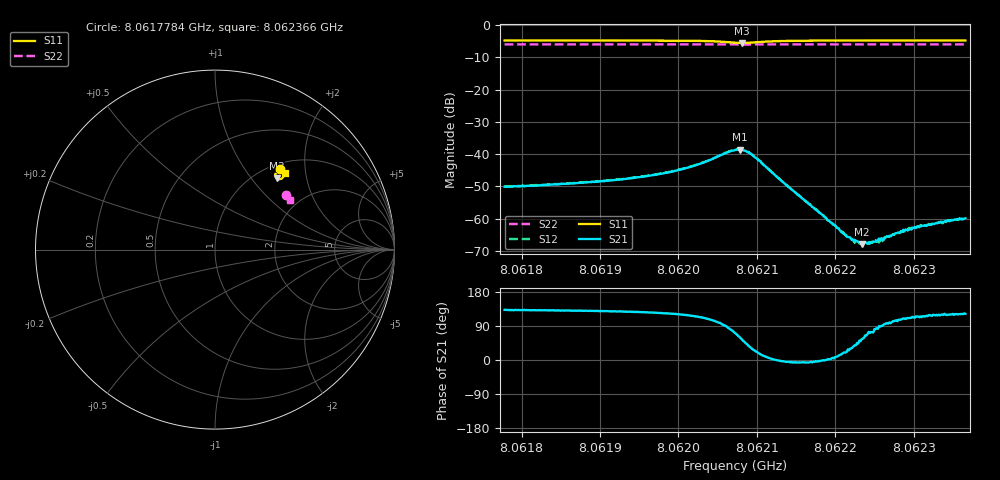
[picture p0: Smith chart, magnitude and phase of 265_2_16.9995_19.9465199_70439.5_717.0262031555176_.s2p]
#  HZ  S  RI  R  50.00
! Rohde & Schwarz Vector Network Analyzer
! Rohde-Schwarz,ZNB20-2Port,1311601062101988,3.16
! Created: UTC 3/20/2024, 11:03:57 PM
! freq[Hz]  re:S11  im:S11  re:S21  im:S21  re:S12  im:S12  re:S22  im:S22
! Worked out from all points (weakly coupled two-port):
!   401 points, 8.0617784 GHz to 8.062366 GHz, reference 50 ohm
!   highest |S21| = -38.65 dB at 8.062078 GHz (marker M1); lowest = -68.0 dB at 8.0622337 GHz (marker M2)
!   lowest |S11| = -5.6 dB at 8.062081 GHz (marker M3), VSWR 3.22, Z = 61.7 + j67.7 ohm
!   |S11| at or under -10 dB: nowhere
!   |S22| runs from -6.0 to -6.0 dB; largest |S21 - S12| = 0.00097
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8.06177835e9  0.3628 0.4473  -0.0021 0.0023  -0.00197 0.00244  0.3972 0.3061
8.06187678e9  0.3698 0.4412  -0.00234 0.00277  -0.00216 0.00292  0.4006 0.3013
8.06193113e9  0.3741 0.4366  -0.00249 0.00325  -0.00233 0.00343  0.4027 0.2985
8.0619752e9  0.3781 0.4314  -0.00274 0.00404  -0.00254 0.00425  0.4041 0.296
8.06202074e9  0.3824 0.4207  -0.00286 0.00597  -0.00253 0.00622  0.4057 0.2934
8.06207215e9  0.359 0.3924  0.00375 0.0109  0.00444 0.0109  0.4058 0.29
8.06207803e9  0.3495 0.3945  0.00576 0.0102  0.00662 0.00972  0.4055 0.29
8.06208097e9  0.3452 0.397  0.00676 0.0094  0.00728 0.00903  0.4056 0.2902
8.06208831e9  0.3374 0.407  0.00817 0.00687  0.00871 0.00648  0.4056 0.2903
8.06209712e9  0.3359 0.4202  0.00806 0.00387  0.00855 0.00333  0.4061 0.2907
8.06213385e9  0.356 0.4393  0.00361 -0.000218  0.00363 -0.000451  0.4084 0.2894
8.06217058e9  0.3675 0.4384  0.00151 -0.000165  0.00155 -0.000247  0.4101 0.2872
8.06221171e9  0.3742 0.4357  0.00054 0.000191  0.000556 0.000146  0.4118 0.2851
8.06222199e9  0.3754 0.435  0.000393 0.000256  0.000413 0.000238  0.4121 0.2847
8.06223374e9  0.3767 0.4342  0.00023 0.000326  0.000227 0.000327  0.4126 0.284
8.06223815e9  0.3773 0.4339  0.000185 0.000394  0.000184 0.000355  0.4126 0.2837
8.06224696e9  0.378 0.4333  0.000123 0.000418  0.000129 0.000414  0.4128 0.2832
8.06225872e9  0.3793 0.4326  -1.67e-06 0.000494  3.76e-05 0.000514  0.4135 0.2828
8.062269e9  0.3802 0.4319  -8.33e-05 0.000531  -5.55e-05 0.000522  0.4137 0.2823
8.06229691e9  0.3826 0.4302  -0.000247 0.000629  -0.000222 0.000682  0.4147 0.2807
8.06234392e9  0.3861 0.4275  -0.000459 0.000801  -0.000411 0.000845  0.4164 0.2782
8.06236595e9  0.3876 0.4262  -0.000532 0.000856  -0.000476 0.000895  0.4169 0.2772
